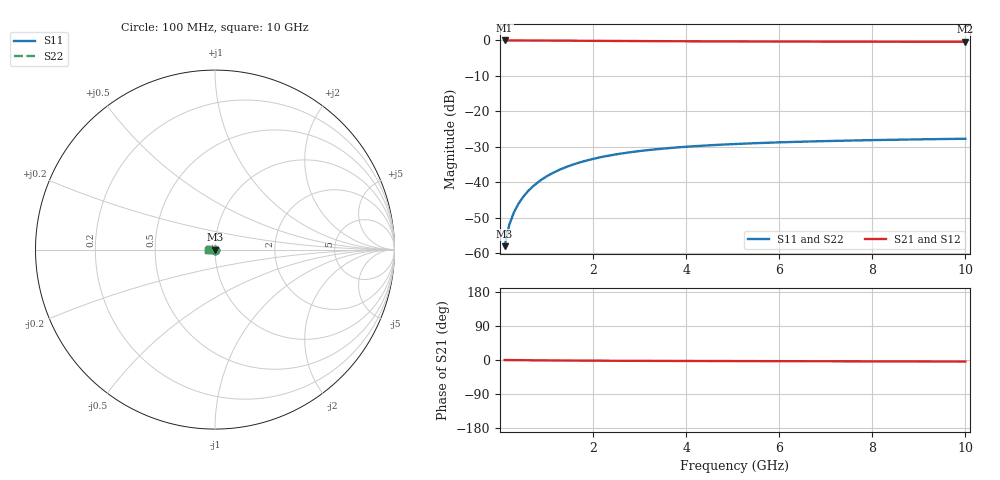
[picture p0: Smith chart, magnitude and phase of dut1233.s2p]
! Touchstone file exported from HFSS 2024.1.0
!  File:  C:/UserFiles/LocalFiles/RDL_TSV_Batchsim/temp_TSV1_1233_1780250635.aedt
!  Generated:  02:09:42 AM Jun  1, 2026
!  Design:  TSV1
!  Project:  temp_TSV1_1233_1780250635
!  Setup:  Setup1
!  Solution:  Sweep
! Variables:
!  dtsv = 14.11um
!  hbump = 3um
!  htsv = 58.95um
!  lrdl = 252.1521522um
!  p = 40
!  p1 = 56.17um
!  t = 500um
!  trdl = 3um
!  wrdl = 24.89489489um
# GHz S MA R 50.000000
! Terminal data exported
! Port[1] = TSV22_T1
! Port[2] = TSV22_T2
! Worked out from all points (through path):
!   100 points, 100 MHz to 10 GHz, reference 50 ohm
!   highest |S21| = 0.00 dB at 100 MHz (marker M1); lowest = -0.4 dB at 10 GHz (marker M2)
!   lowest |S11| = -58.0 dB at 100 MHz (marker M3), VSWR 1.00, Z = 50 - j0.126 ohm
!   |S11| at or under -10 dB: start of sweep to end of sweep
!   |S22| runs from -58.0 to -27.7 dB; largest |S21 - S12| = 1.4e-14
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0.1  0.001264 -88.8  0.9999 -0.1  0.9999 -0.1  0.001264 -88.8
! Gamma 0 0 0 0
! Port Impedance 50 0 50 0
0.2  0.002526 -92.1  0.9997 -0.2  0.9997 -0.2  0.002526 -92.1
0.3  0.003787 -94.5  0.9995 -0.3  0.9995 -0.3  0.003787 -94.5
0.4  0.005038 -96.7  0.9992 -0.4  0.9992 -0.4  0.005038 -96.7
0.5  0.006276 -98.8  0.9988 -0.6  0.9988 -0.6  0.006276 -98.8
0.6  0.007496 -100.8  0.9983 -0.7  0.9983 -0.7  0.007496 -100.8
0.7  0.008693 -102.7  0.9978 -0.8  0.9978 -0.8  0.008693 -102.7
0.8  0.009865 -104.7  0.9972 -0.9  0.9972 -0.9  0.009865 -104.7
0.9  0.01101 -106.5  0.9966 -1.0  0.9966 -1.0  0.01101 -106.5
1.1  0.01321 -110.2  0.9952 -1.1  0.9952 -1.1  0.01321 -110.2
1.4  0.01626 -115.3  0.9928 -1.4  0.9928 -1.4  0.01626 -115.3
1.6  0.01812 -118.5  0.9912 -1.5  0.9912 -1.5  0.01812 -118.5
1.8  0.01984 -121.5  0.9894 -1.7  0.9894 -1.7  0.01984 -121.5
2.1  0.02218 -125.7  0.9869 -1.8  0.9869 -1.8  0.02218 -125.7
2.5  0.02488 -130.8  0.9836 -2.0  0.9836 -2.0  0.02488 -130.8
2.9  0.02715 -135.3  0.9806 -2.2  0.9806 -2.2  0.02715 -135.3
3.4  0.02951 -140.2  0.9772 -2.4  0.9772 -2.4  0.02951 -140.2
4.2  0.03243 -146.9  0.9726 -2.6  0.9726 -2.6  0.03243 -146.9
5.1  0.03485 -153.1  0.9687 -2.9  0.9687 -2.9  0.03485 -153.1
6.7  0.03779 -161.7  0.9637 -3.2  0.9637 -3.2  0.03779 -161.7
8.4  0.03984 -168.8  0.9602 -3.7  0.9602 -3.7  0.03984 -168.8
10  0.04124 -174.3  0.958 -4.0  0.958 -4.0  0.04124 -174.3
